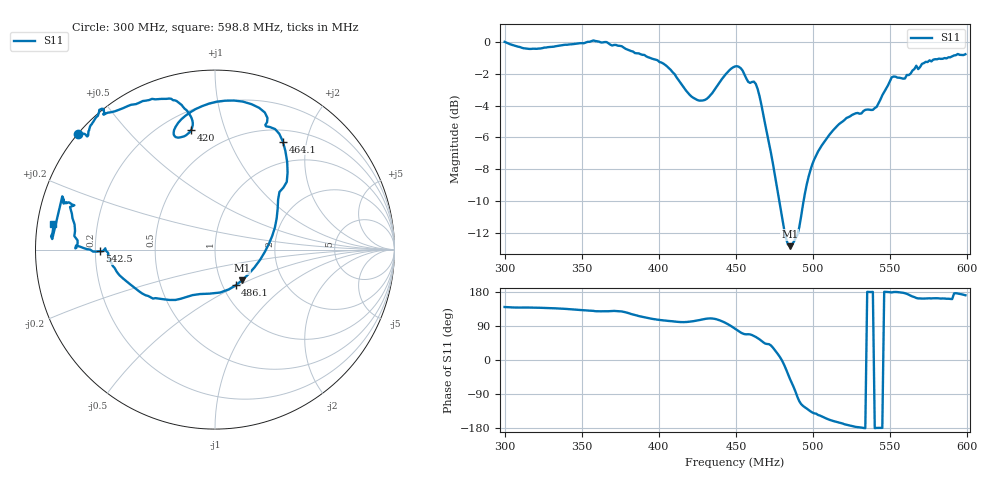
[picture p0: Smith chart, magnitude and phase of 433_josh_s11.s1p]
!Created with skrf (http://scikit-rf.org).
# Hz S RI R 50.0
!freq ReS11 ImS11
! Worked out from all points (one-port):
!   245 points, 300 MHz to 598.8 MHz, reference 50 ohm
!   lowest |S11| = -12.8 dB at 484.9 MHz (marker M1), VSWR 1.59, Z = 63.1 - j22.8 ohm
!   |S11| at or under -10 dB: 478.1 MHz to 493.9 MHz (15.75 MHz wide, 3.24 % of centre)
!   S11 on the Smith chart (normalised r, x): 300 MHz: -0.00, +0.37; 420 MHz: 0.31, +0.77; 464.1 MHz: 0.66, +1.61; 486.1 MHz: 1.15, -0.48; 542.5 MHz: 0.22, -0.01; 598.8 MHz: 0.04, +0.08
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3e8  -0.7647 0.6451
3.3796e8  -0.6946 0.6881
3.5878e8  -0.6307 0.7849
3.7592e8  -0.5986 0.7625
3.9796e8  -0.2561 0.8414
4.1265e8  -0.1382 0.7473
4.2e8  -0.1317 0.6689
4.298e8  -0.2059 0.6239
4.3714e8  -0.219 0.6849
4.4327e8  -0.1077 0.783
4.4939e8  0.1059 0.8305
4.5429e8  0.2772 0.7643
4.6408e8  0.3782 0.602
4.7633e8  0.3337 0.1227
4.849e8  0.1504 -0.1714
4.8612e8  0.1152 -0.1987
4.8735e8  0.0769 -0.2217
4.9224e8  -0.1247 -0.2535
4.9959e8  -0.3104 -0.2732
5.2408e8  -0.5796 -0.0694
5.4245e8  -0.6414 -0.00876
5.5102e8  -0.7737 0.023
5.5714e8  -0.7691 0.0232
5.6204e8  -0.7797 0.1048
5.6816e8  -0.7834 0.2471
5.902e8  -0.8508 0.2968
5.9143e8  -0.9041 0.068
5.9877e8  -0.9032 0.1446
